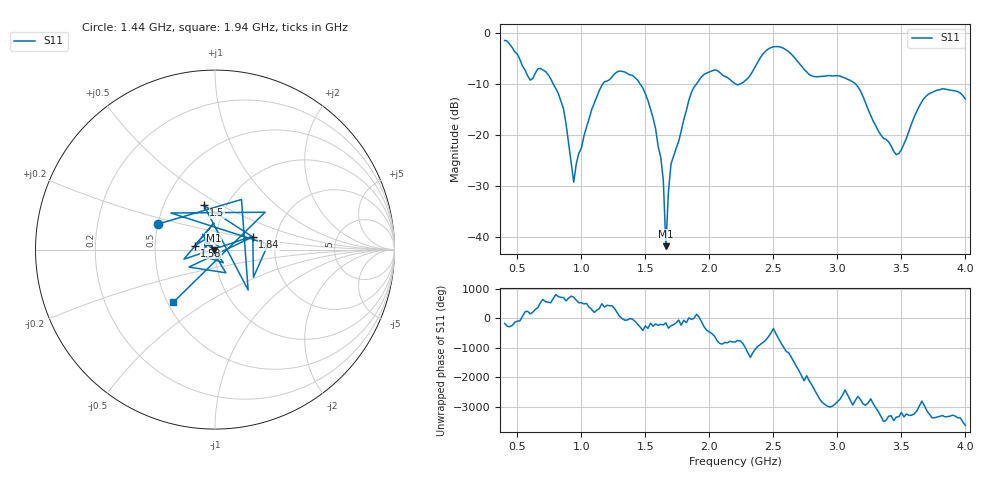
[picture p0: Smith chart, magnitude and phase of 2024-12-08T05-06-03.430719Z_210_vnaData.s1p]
!Created with skrf (http://scikit-rf.org).
# Hz S RI R 50.0
!freq ReS11 ImS11
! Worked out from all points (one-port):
!   181 points, 400 MHz to 4 GHz, reference 50 ohm
!   lowest |S11| = -41.8 dB at 1.66 GHz (marker M1), VSWR 1.02, Z = 49.3 - j0.373 ohm
!   |S11| at or under -10 dB: 780.9 MHz to 1.166 GHz (384.7 MHz wide, 39.5 % of centre); 1.46 GHz to 1.898 GHz (437.9 MHz wide, 26.1 % of centre); 3.144 GHz to end of sweep (the widest 3 of 4)
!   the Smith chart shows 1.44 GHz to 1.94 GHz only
!   S11 on the Smith chart (normalised r, x): 1.44 GHz: 0.50, +0.16; 1.5 GHz: 0.79, +0.42; 1.58 GHz: 0.80, +0.04; 1.84 GHz: 1.51, +0.23; 1.94 GHz: 0.53, -0.37
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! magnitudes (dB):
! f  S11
! 400 MHz  -1.4
! 600 MHz  -9.2
! 720 MHz  -7.5
! 860 MHz  -14.8
! 940 MHz  -29.2
! 980 MHz  -23.5
! 1.14 GHz  -11.2
! 1.3 GHz  -7.4
! 1.44 GHz  -9.2
! 1.5 GHz  -11.9
! 1.58 GHz  -18.7
! 1.64 GHz  -28.9
! 1.66 GHz  -41.8
! 1.68 GHz  -31.1
! 1.7 GHz  -25.7
! 1.76 GHz  -21.2
! 1.84 GHz  -13.1
! 1.94 GHz  -8.5
! 2.06 GHz  -7.3
! 2.2 GHz  -9.9
! 2.48 GHz  -2.8
! 2.66 GHz  -4.6
! 2.8 GHz  -8.4
! 3.1 GHz  -9.2
! 3.46 GHz  -23.8
! 3.56 GHz  -19.1
! 3.72 GHz  -11.8
! 4 GHz  -12.9
